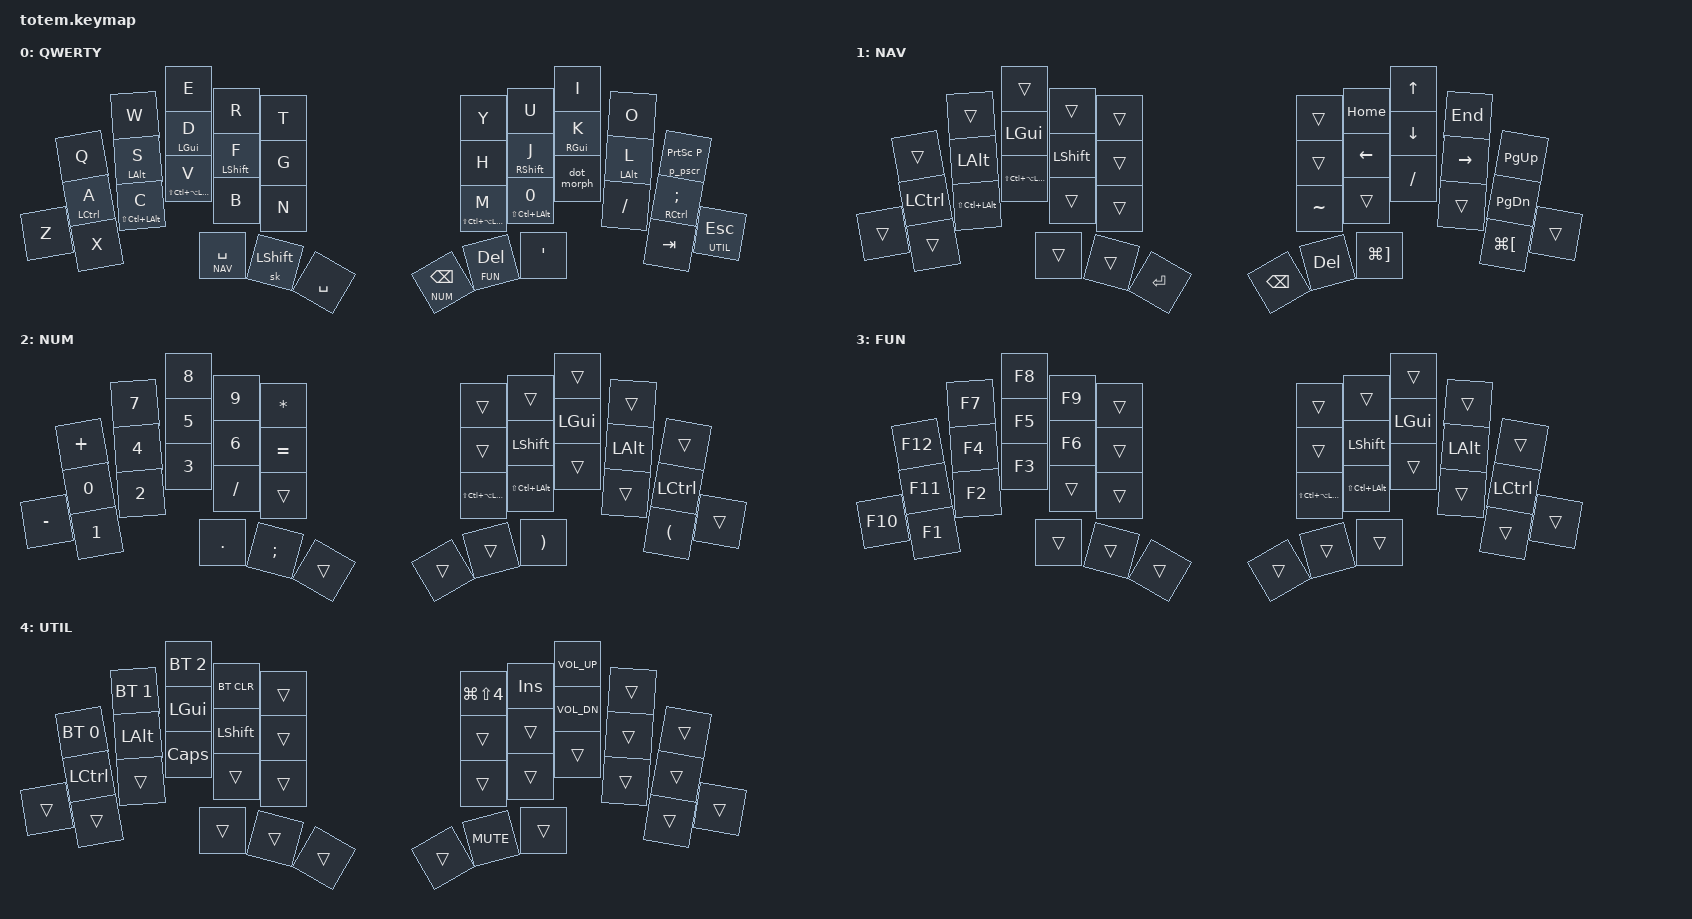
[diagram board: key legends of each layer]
/*
 * TOTEM keymap — QWERTY base, bsag/urob-style structure.
 *
 * Position numbering is row-major (matches Studio's expectations):
 *
 *      LT4 LT3 LT2 LT1 LT0     RT0 RT1 RT2 RT3 RT4
 *      LM4 LM3 LM2 LM1 LM0     RM0 RM1 RM2 RM3 RM4
 *  LB5 LB4 LB3 LB2 LB1 LB0     RB0 RB1 RB2 RB3 RB4 RB5
 *          LH2 LH1 LH0         RH0 RH1 RH2
 *
 *  Indices: top 0..9, home 10..19, inner bottom 20..29,
 *           LB5=30, LH2..LH0=31..33, RH0..RH2=34..36, RB5=37
 */

#include <behaviors.dtsi>
#include <dt-bindings/zmk/keys.h>
#include <dt-bindings/zmk/bt.h>

#include <zmk-helpers/helper.h>

// Top row
#define LT4 0
#define LT3 1
#define LT2 2
#define LT1 3
#define LT0 4
#define RT0 5
#define RT1 6
#define RT2 7
#define RT3 8
#define RT4 9

// Home row
#define LM4 10
#define LM3 11
#define LM2 12
#define LM1 13
#define LM0 14
#define RM0 15
#define RM1 16
#define RM2 17
#define RM3 18
#define RM4 19

// Inner bottom row
#define LB4 20
#define LB3 21
#define LB2 22
#define LB1 23
#define LB0 24
#define RB0 25
#define RB1 26
#define RB2 27
#define RB3 28
#define RB4 29

// Outer pinkies
#define LB5 30
#define RB5 37

// Thumbs
#define LH2 31
#define LH1 32
#define LH0 33
#define RH0 34
#define RH1 35
#define RH2 36

#define XXX &none
#define ___ &trans

// Layer indices
#define BASE 0
#define NAV  1
#define NUM  2
#define FUN  3
#define UTIL 4

#define BACK &kp LG(LBKT)
#define FWD  &kp LG(RBKT)
#define HYP  LS(LC(LA(LGUI)))
#define MEH  LS(LC(LALT))

#define QUICK_TAP_MS 175

&caps_word {
    /delete-property/ ignore-numbers;
    continue-list = <BACKSPACE ENTER DELETE UNDERSCORE MINUS>;
};

&key_repeat {
    usage-pages = <HID_USAGE_KEY HID_USAGE_CONSUMER>;
};

&sk {
    release-after-ms = <2000>;
    quick-release;
};

&lt {
    flavor = "balanced";
    tapping-term-ms = <200>;
    quick-tap-ms = <QUICK_TAP_MS>;
};

#define KEYS_L LT0 LT1 LT2 LT3 LT4 LM0 LM1 LM2 LM3 LM4 LB0 LB1 LB2 LB3 LB4
#define KEYS_R RT0 RT1 RT2 RT3 RT4 RM0 RM1 RM2 RM3 RM4 RB0 RB1 RB2 RB3 RB4
#define THUMBS LH2 LH1 LH0 RH0 RH1 RH2

#define MAKE_HRM(NAME, HOLD, TAP, TRIGGER_POS) \
    ZMK_BEHAVIOR(NAME, hold_tap, \
        flavor = "balanced"; \
        tapping-term-ms = <280>; \
        quick-tap-ms = <QUICK_TAP_MS>; \
        require-prior-idle-ms = <150>; \
        bindings = <HOLD>, <TAP>; \
        hold-trigger-key-positions = <TRIGGER_POS>; \
        hold-trigger-on-release; \
    )
MAKE_HRM(hml, &kp, &kp, KEYS_R THUMBS)
MAKE_HRM(hmr, &kp, &kp, KEYS_L THUMBS)
MAKE_HRM(hmr_meh, &kp, &comma_morph, KEYS_L THUMBS)

ZMK_BEHAVIOR(comma_morph, mod_morph,
    bindings = <&kp COMMA>, <&kp SEMICOLON>;
    mods = <(MOD_LSFT|MOD_RSFT)>;
)

ZMK_BEHAVIOR(dot_morph, mod_morph,
    bindings = <&kp DOT>, <&kp COLON>;
    mods = <(MOD_LSFT|MOD_RSFT)>;
)

// Long-hold the P key to send PrintScreen; quick tap still types P.
// tap-preferred + 250ms term means accidental holds while typing
// stay as P; only deliberate holds send PrintScreen.
ZMK_BEHAVIOR(p_pscr, hold_tap,
    flavor = "tap-preferred";
    tapping-term-ms = <250>;
    quick-tap-ms = <QUICK_TAP_MS>;
    bindings = <&kp>, <&kp>;
)

#include "combos.dtsi"

/ {
    keymap {
        compatible = "zmk,keymap";

        default_layer {
            display-name = "QWERTY";
            bindings = <
&kp Q  &kp W  &kp E  &kp R  &kp T              &kp Y  &kp U  &kp I  &kp O  &p_pscr PRINTSCREEN P
&hml LCTRL A  &hml LALT S  &hml LGUI D  &hml LSHFT F  &kp G    &kp H  &hmr RSHFT J  &hmr RGUI K  &hmr LALT L  &hmr RCTRL SEMI
&kp Z  &kp X  &hml MEH C  &hml HYP V  &kp B            &kp N  &hmr HYP M  &hmr_meh MEH 0  &dot_morph  &kp FSLH
&kp TAB    &lt UTIL ESC  &lt NAV SPACE  &sk LSHFT    &kp SPACE  &lt NUM BSPC  &lt FUN DEL    &kp APOS
            >;
        };

        nav_layer {
            display-name = "NAV";
            bindings = <
___  ___  ___  ___  ___                ___  &kp HOME  &kp UP  &kp END  &kp PAGE_UP
&kp LCTRL  &kp LALT  &kp LGUI  &kp LSHFT  ___    ___  &kp LEFT  &kp DOWN  &kp RIGHT  &kp PAGE_DOWN
___  ___  &kp MEH  &kp HYP  ___           ___  &kp TILDE  ___  &kp FSLH  ___
BACK    ___  ___  ___    &kp RET  &kp BSPC  &kp DEL    FWD
            >;
        };

        num_layer {
            display-name = "NUM";
            bindings = <
&kp PLUS  &kp N7  &kp N8  &kp N9  &kp STAR              ___  ___  ___  ___  ___
&kp N0  &kp N4  &kp N5  &kp N6  &kp EQUAL               ___  &kp LSHFT  &kp LGUI  &kp LALT  &kp LCTRL
&kp MINUS  &kp N1  &kp N2  &kp N3  &kp FSLH             ___  &kp HYP  &kp MEH  ___  ___
&kp LPAR    ___  &kp DOT  &kp SEMI    ___  ___  ___    &kp RPAR
            >;
        };

        fun_layer {
            display-name = "FUN";
            bindings = <
&kp F12  &kp F7  &kp F8  &kp F9  ___                    ___  ___  ___  ___  ___
&kp F11  &kp F4  &kp F5  &kp F6  ___                    ___  &kp LSHFT  &kp LGUI  &kp LALT  &kp LCTRL
&kp F10  &kp F1  &kp F2  &kp F3  ___                    ___  &kp HYP  &kp MEH  ___  ___
___    ___  ___  ___    ___  ___  ___    ___
            >;
        };

        util_layer {
            display-name = "UTIL";
            bindings = <
&bt BT_SEL 0  &bt BT_SEL 1  &bt BT_SEL 2  &bt BT_CLR  ___      &kp LG(LS(N4))  &kp INS  &kp C_VOL_UP  ___  ___
&kp LCTRL  &kp LALT  &kp LGUI  &kp LSHFT  ___                  ___  ___  &kp C_VOL_DN  ___  ___
___  ___  ___  &kp CAPS  ___                                  ___  ___  ___  ___  ___
___    ___  ___  ___    ___  ___  &kp C_MUTE    ___
            >;
        };
    };
};
